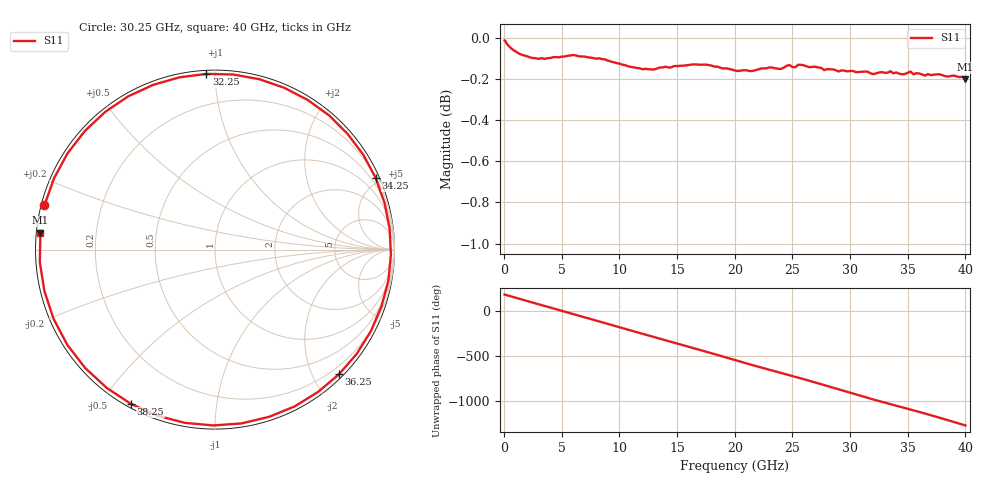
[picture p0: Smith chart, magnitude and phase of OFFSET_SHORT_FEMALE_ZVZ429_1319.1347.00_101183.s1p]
#  HZ  S  DB  R  50
! Company: Rohde & Schwarz
! Verification Kit: ZVZ429
! Verification Standard: OFFSET_SHORT_FEMALE
! Serial Number: 101183
! MT-K NWA Calibriersystem
! <Frequency>  <S11>
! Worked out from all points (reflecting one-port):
!   162 points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, 45 MHz to 40 GHz, reference 50 ohm
!   lowest |S11| = -0.2 dB at 40 GHz (marker M1), VSWR 86.05, Z = 0.582 + j2.41 ohm
!   phase of S11 starts at 178 deg and turns -1444 deg over the sweep
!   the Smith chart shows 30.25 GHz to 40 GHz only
!   S11 on the Smith chart (normalised r, x): 30.25 GHz: 0.01, +0.13; 32.25 GHz: 0.02, +0.95; 34.25 GHz: 0.23, +4.69; 36.25 GHz: 0.07, -2.40; 38.25 GHz: 0.01, -0.59; 40 GHz: 0.01, +0.05
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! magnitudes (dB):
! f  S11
! 45 MHz  0.0
! 750 MHz  -0.1
! 2.25 GHz  -0.1
! 3.5 GHz  -0.1
! 5.25 GHz  -0.1
! 6 GHz  -0.1
! 8.25 GHz  -0.1
! 10.25 GHz  -0.1
! 13 GHz  -0.2
! 15.25 GHz  -0.1
! 17.5 GHz  -0.1
! 20.25 GHz  -0.2
! 23 GHz  -0.1
! 24 GHz  -0.2
! 24.75 GHz  -0.1
! 25.25 GHz  -0.1
! 25.75 GHz  -0.1
! 27.75 GHz  -0.2
! 30.25 GHz  -0.2
! 32.25 GHz  -0.2
! 33.5 GHz  -0.2
! 34.25 GHz  -0.2
! 35.25 GHz  -0.2
! 35.5 GHz  -0.2
! 36.25 GHz  -0.2
! 38.25 GHz  -0.2
! 39.75 GHz  -0.2
! 40 GHz  -0.2
